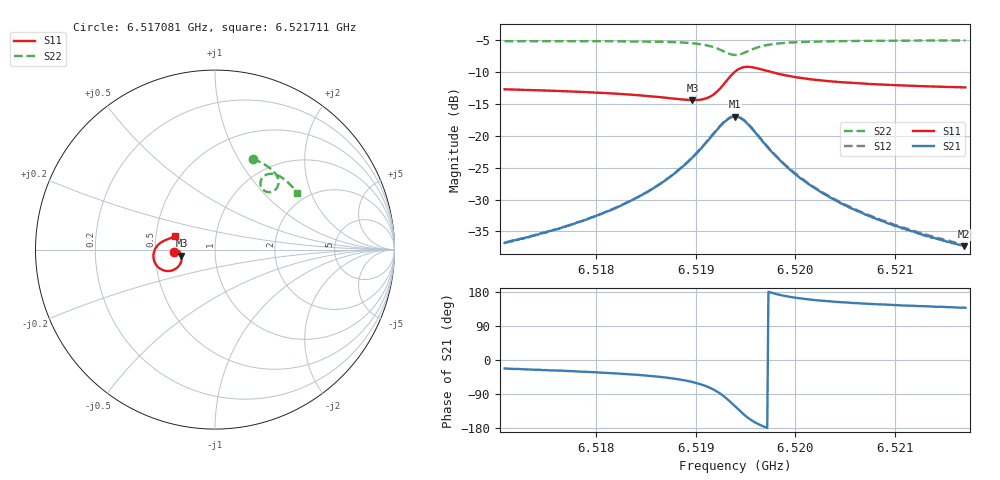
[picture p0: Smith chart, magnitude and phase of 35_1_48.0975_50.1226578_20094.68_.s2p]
#  HZ  S  RI  R  50.00
! Rohde & Schwarz Vector Network Analyzer
! Rohde-Schwarz,ZNB20-2Port,1311601062101988,3.16
! Created: UTC 12/23/2023, 3:38:09 AM
! freq[Hz]  re:S11  im:S11  re:S21  im:S21  re:S12  im:S12  re:S22  im:S22
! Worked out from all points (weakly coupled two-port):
!   401 points, 6.517081 GHz to 6.521711 GHz, reference 50 ohm
!   highest |S21| = -17.01 dB at 6.519396 GHz (marker M1); lowest = -37.3 dB at 6.5217 GHz (marker M2)
!   lowest |S11| = -14.4 dB at 6.518968 GHz (marker M3), VSWR 1.47, Z = 34.2 - j2.35 ohm
!   |S11| at or under -10 dB: start of sweep to 6.519395 GHz; 6.519751 GHz to end of sweep
!   |S22| runs from -7.4 to -5.1 dB; largest |S21 - S12| = 0.0043
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6.5170815e9  -0.2302 -0.0156  0.0134 -0.00549  0.0136 -0.00513  0.2097 0.507
6.5175097e9  -0.2252 -0.00947  0.0158 -0.00811  0.016 -0.00743  0.2413 0.4931
6.5178569e9  -0.22 -0.00569  0.0185 -0.011  0.0187 -0.0104  0.2669 0.4797
6.518262e9  -0.2116 -0.00389  0.023 -0.0171  0.0237 -0.0164  0.2972 0.4603
6.5186324e9  -0.2003 -0.00917  0.0295 -0.0288  0.0306 -0.028  0.3262 0.4354
6.5187944e9  -0.1939 -0.0164  0.0332 -0.0388  0.0345 -0.0378  0.3388 0.42
6.5189681e9  -0.1869 -0.0332  0.0357 -0.0571  0.0376 -0.0564  0.3507 0.3963
6.5190838e9  -0.1858 -0.0539  0.0329 -0.0774  0.0355 -0.077  0.354 0.3734
6.5191648e9  -0.1918 -0.0753  0.0244 -0.0968  0.0274 -0.0969  0.35 0.3531
6.5193037e9  -0.2375 -0.1156  -0.0223 -0.1289  -0.0189 -0.1306  0.3143 0.3214
6.5193963e9  -0.2966 -0.1116  -0.0753 -0.1193  -0.0724 -0.1224  0.2731 0.3293
6.5194542e9  -0.3269 -0.0864  -0.0995 -0.0939  -0.0975 -0.0974  0.2566 0.3509
6.519512e9  -0.3416 -0.0536  -0.1088 -0.0639  -0.1079 -0.0675  0.2535 0.3758
6.5196046e9  -0.3388 -0.0091  -0.1016 -0.0259  -0.1016 -0.0289  0.2678 0.4051
6.5196972e9  -0.3239 0.0185  -0.0859 -0.00472  -0.0863 -0.00723  0.2885 0.4183
6.5199287e9  -0.2905 0.046  -0.0547 0.012  -0.0556 0.0107  0.3304 0.4202
6.5201718e9  -0.2698 0.0553  -0.0374 0.0143  -0.0381 0.0134  0.3591 0.4092
6.5205421e9  -0.2519 0.0623  -0.0241 0.0132  -0.0249 0.0127  0.3902 0.3881
6.5209472e9  -0.2401 0.0683  -0.0169 0.0115  -0.0175 0.0112  0.4167 0.3639
6.521306e9  -0.2325 0.0731  -0.013 0.0103  -0.0137 0.01  0.4367 0.3422
6.5216996e9  -0.2255 0.0785  -0.0101 0.00917  -0.0106 0.00905  0.4563 0.3179
6.5217111e9  -0.2252 0.0785  -0.0102 0.0092  -0.0105 0.00909  0.4569 0.3172
